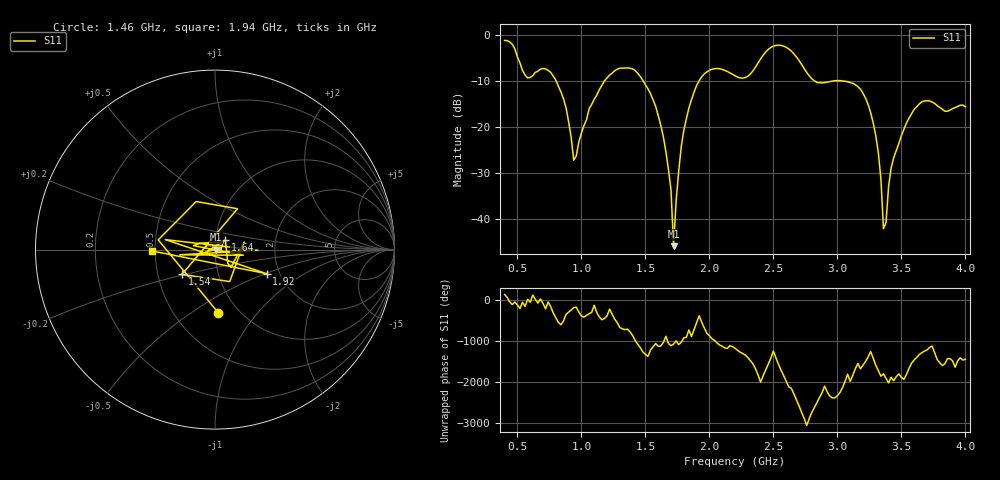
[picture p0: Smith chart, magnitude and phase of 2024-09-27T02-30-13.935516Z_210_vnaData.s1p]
!Created with skrf (http://scikit-rf.org).
# Hz S RI R 50.0
!freq ReS11 ImS11
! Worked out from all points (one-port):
!   181 points, 400 MHz to 4 GHz, reference 50 ohm
!   lowest |S11| = -45.9 dB at 1.72 GHz (marker M1), VSWR 1.01, Z = 50.5 + j0.0237 ohm
!   |S11| at or under -10 dB: 803 MHz to 1.179 GHz (376.5 MHz wide, 38 % of centre); 1.483 GHz to 1.919 GHz (436.6 MHz wide, 25.7 % of centre); 3.04 GHz to end of sweep (the widest 3 of 4)
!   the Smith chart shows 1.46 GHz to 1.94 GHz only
!   S11 on the Smith chart (normalised r, x): 1.46 GHz: 0.81, -0.65; 1.54 GHz: 0.67, -0.19; 1.64 GHz: 1.12, +0.12; 1.92 GHz: 1.71, -0.51; 1.94 GHz: 0.48, -0.01
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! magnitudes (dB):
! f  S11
! 400 MHz  -1.2
! 580 MHz  -9.3
! 740 MHz  -7.7
! 860 MHz  -13.9
! 940 MHz  -27.2
! 1.06 GHz  -16.1
! 1.3 GHz  -7.2
! 1.46 GHz  -9.0
! 1.54 GHz  -12.8
! 1.64 GHz  -22.1
! 1.7 GHz  -33.7
! 1.72 GHz  -45.9
! 1.76 GHz  -29.7
! 1.82 GHz  -18.2
! 1.92 GHz  -10.0
! 1.94 GHz  -9.1
! 2.2 GHz  -8.9
! 2.5 GHz  -2.4
! 2.66 GHz  -4.1
! 2.84 GHz  -10.3
! 3.1 GHz  -10.3
! 3.28 GHz  -19.1
! 3.34 GHz  -31.3
! 3.36 GHz  -42.1
! 3.38 GHz  -40.8
! 3.42 GHz  -28.9
! 3.56 GHz  -18.0
! 4 GHz  -15.6
